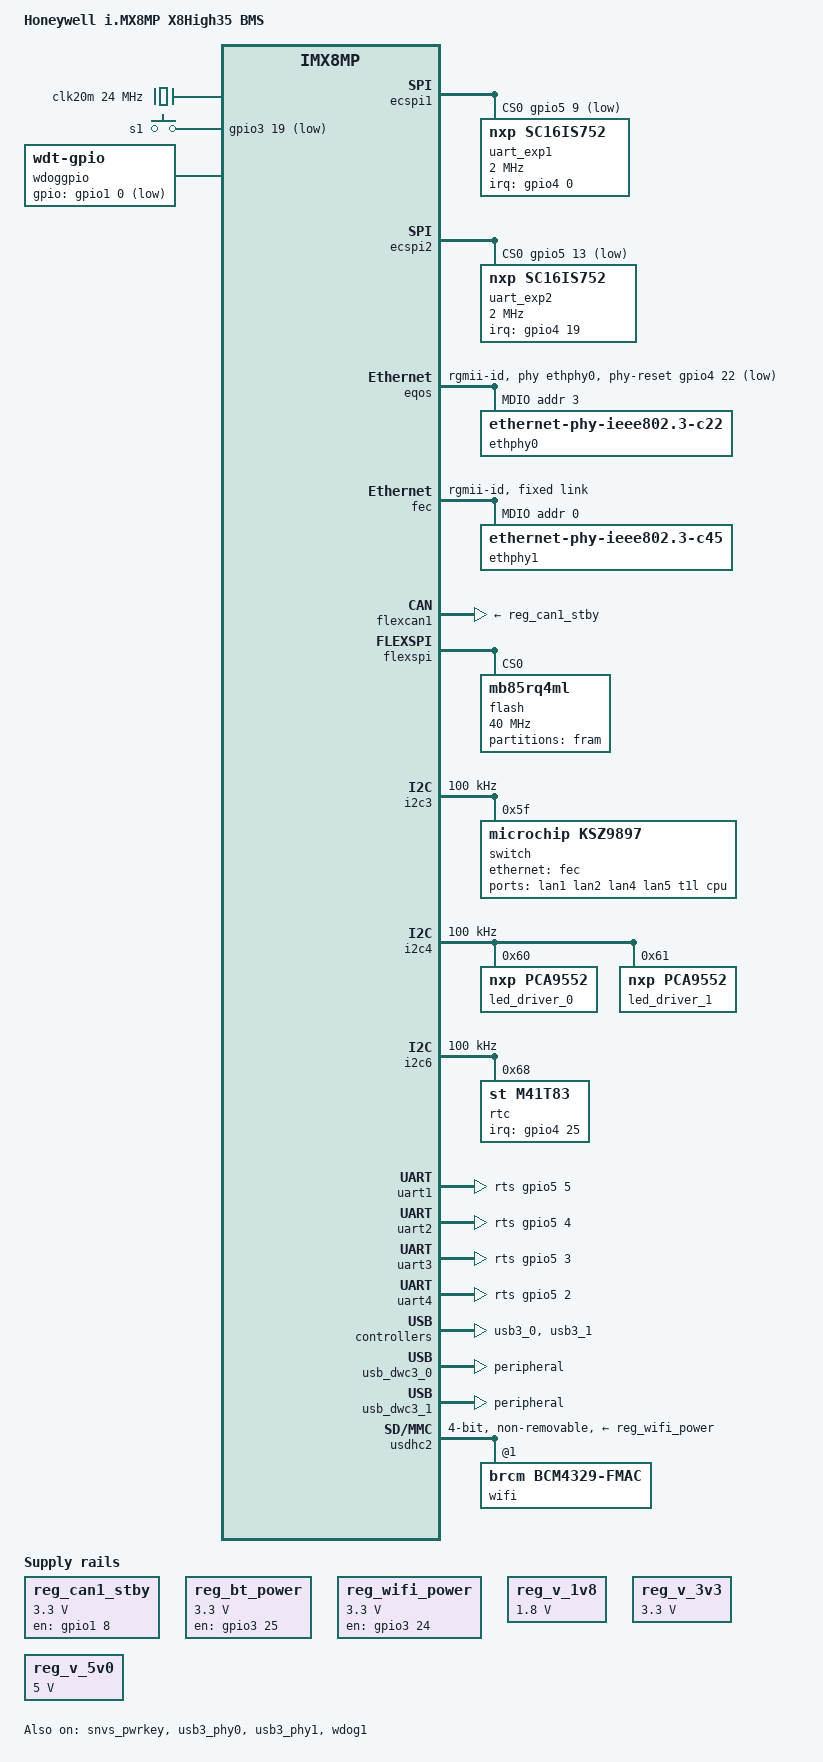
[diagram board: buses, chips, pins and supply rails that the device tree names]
// SPDX-License-Identifier: (GPL-2.0 OR MIT)
/*
 * Copyright (C) 2021 Shrirang Bagul <shrirang.bagul@canonical.com>
 */

/dts-v1/;

#include "dt-bindings/leds/leds-pca955x.h"
#include "dt-bindings/usb/pd.h"
#include "imx8mp-x8high35-som.dtsi"

/ {
	model = "Honeywell i.MX8MP X8High35 BMS";
	compatible = "Honeywell,x8high35-bms", "fsl,imx8mp";

	aliases {
		rtc0 = &rtc;
		rtc1 = &snvs_rtc;
		watchdog0 = &rtc;
		watchdog1 = &wdog1;
	};

	reserved-memory {
		#address-cells = <2>;
		#size-cells = <2>;
		ranges;

		linux,cma {
			compatible = "shared-dma-pool";
			reusable;
			size = <0x0 0x8000000>;
			alloc-ranges = <0x0 0x40000000 0x0 0xc0000000>;
			linux,cma-default;
		};

		rpmsg_reserved: rpmsg@55800000 {
			no-map;
			reg = <0x0 0x55800000 0x0 0x800000>;
		};
	};

	leds {
		compatible = "gpio-leds";
		/delete-property/pinctrl-0;
		/delete-property/pinctrl-names;
		status = "disabled";
	};

	clk20m: oscillator-0 {
		compatible = "fixed-clock";
		#clock-cells = <0>;
		clock-frequency  = <24000000>;
		clock-output-names = "clk20m";
	};

	firmware {
		optee {
			compatible = "linaro,optee-tz";
			method = "smc";
		};
	};

	gpio-keys {
		compatible = "gpio-keys";
		pinctrl-names = "default";
		pinctrl-0 = <&pinctrl_gpiokeys>;

		s1 {
			label = "s1";
			gpios = <&gpio3 19 GPIO_ACTIVE_LOW>;
			linux,code = <KEY_ESC>;
			wakeup-source;
		};
	};

	reg_can1_stby: regulator-can1-stby {
		compatible = "regulator-fixed";
		regulator-name = "can1-stby";
		pinctrl-names = "default";
		pinctrl-0 = <&pinctrl_flexcan1_reg>;
		regulator-min-microvolt = <3300000>;
		regulator-max-microvolt = <3300000>;
		gpio = <&gpio1 8 GPIO_ACTIVE_HIGH>;
		regulator-always-on;
		enable-active-high;
	};

	reg_bt_power: regulator-bt-power {
		compatible = "regulator-fixed";
		regulator-name = "bt_power";
		pinctrl-names = "default";
		pinctrl-0 = <&pinctrl_bt_reg>;
		regulator-min-microvolt = <3300000>;
		regulator-max-microvolt = <3300000>;
		gpio = <&gpio3 25 GPIO_ACTIVE_HIGH>;
		enable-active-high;
		regulator-always-on;
	};


	reg_wifi_power: regulator-wifi-power {
		compatible = "regulator-fixed";
		regulator-name = "wifi_power";
		pinctrl-names = "default";
		pinctrl-0 = <&pinctrl_wifi_reg>;
		regulator-min-microvolt = <3300000>;
		regulator-max-microvolt = <3300000>;
		gpio = <&gpio3 24 GPIO_ACTIVE_HIGH>;
		enable-active-high;
		regulator-always-on;
		startup-delay-us = <10000>;
		off-on-delay-us = <12000>;
	};

	reg_v_1v8: regulator-v-1v8 {
		pinctrl-names = "default";
		pinctrl-0 = <&pinctrl_ldo5>;
		compatible = "regulator-gpio";
		regulator-name = "v_1v8";
		regulator-max-microvolt = <1800000>;
		regulator-min-microvolt = <1800000>;
		gpios = <&gpio1 4 GPIO_ACTIVE_HIGH>;
		states = <1800000 0x1>;
		regulator-always-on;
		regulator-boot-on;
	};

	reg_v_3v3: regulator-v-3v3 {
		compatible = "regulator-fixed";
		regulator-name = "v_3v3";
		regulator-max-microvolt = <3300000>;
		regulator-min-microvolt = <3300000>;
		regulator-always-on;
	};

	reg_v_5v0: regulator-v-5v0 {
		compatible = "regulator-fixed";
		regulator-name = "v_5v0";
		regulator-max-microvolt = <5000000>;
		regulator-min-microvolt = <5000000>;
		regulator-always-on;
	};

	wdoggpio: watchdog {
		compatible = "linux,wdt-gpio";
		pinctrl-names = "default";
		pinctrl-0 = <&pinctrl_wdoggpio>;
		gpios = <&gpio1 0 GPIO_ACTIVE_LOW>;
		hw_algo = "toggle";
		hw_margin_ms = <60000>;
		always-running;
	};
};

&ecspi1 {
	pinctrl-names = "default";
	pinctrl-0 = <&pinctrl_ecspi1 &pinctrl_uart_exp1_int>;
	cs-gpios = <&gpio5 9 GPIO_ACTIVE_LOW>;
	num-cs = <1>;
	status = "okay";

	#address-cells = <1>;
	#size-cells = <0>;

	/* UART Port A <--> RS-485 UART */
	/* UART Port B <--> FFT UART */
	uart_exp1@0 {
		compatible = "nxp,sc16is752";
		reg = <0>;
		interrupt-parent = <&gpio4>;
		interrupts = <0 IRQ_TYPE_EDGE_FALLING>;
		clock-frequency = <24000000>;
		spi-max-frequency = <2000000>;

        gpio-controller;
		#gpio-cells = <2>;
		gpio-line-names =
			"MMI_PWR_EN", "MMI_PWR_OK",	"RS422_MODE", "GPIO3",
			"GPIO4", "GPIO5", "GPIO6", "GPIO7";
    };
};

&ecspi2 {
	pinctrl-names = "default";
	pinctrl-0 = <&pinctrl_ecspi2 &pinctrl_uart_exp2_int>;
	cs-gpios =	<&gpio5 13 GPIO_ACTIVE_LOW>;
	num-cs = <1>;
	status = "okay";

	#address-cells = <1>;
	#size-cells = <0>;

	/* UART Port A <--> Wifi BT UART */
	/* UART Port B <--> BLE5 ZigBee UART */
	uart_exp2@0 {
		compatible = "nxp,sc16is752";
		reg = <0>;
		interrupt-parent = <&gpio4>;
		interrupts = <19 IRQ_TYPE_EDGE_FALLING>;
		clock-frequency = <24000000>;
		spi-max-frequency = <2000000>;

		gpio-controller;
		#gpio-cells = <2>;
		gpio-line-names =
			"BLE5_ZIGBEE_RESET_B", "BLE5_ZIGBEE_INT_B",
			"GPIO2", "GPIO3", "GPIO4",
			"GPIO5", "GPIO6", "GPIO7";
    };
};

&eqos {
	pinctrl-names = "default";
	pinctrl-0 = <&pinctrl_eqos>;
	phy-mode = "rgmii-id";
	phy-reset-gpios = <&gpio4 22 GPIO_ACTIVE_LOW>;
	phy-handle = <&ethphy0>;
	nvmem-cells = <&eth_mac2>;
	nvmem-cell-names = "mac-address";
	nvmem_macaddr_swap;
	status = "okay";

	mdio {
		compatible = "snps,dwmac-mdio";
		#address-cells = <1>;
		#size-cells = <0>;

		ethphy0: ethernet-phy@3 {
			compatible = "ethernet-phy-ieee802.3-c22";
			reg = <3>;
			eee-broken-1000t;
			eee-broken-100tx;
			eee-broken-10gt;
		};
	};
};

&fec {
	pinctrl-names = "default";
	pinctrl-0 = <&pinctrl_fec>;
	phy-mode = "rgmii-id";
	fsl,magic-packet;
	status = "okay";

	fixed-link {
		speed = <1000>;
		full-duplex;
	};

	mdio {
		#address-cells = <1>;
		#size-cells = <0>;

		ethphy1: ethernet-phy@0 {
			compatible = "ethernet-phy-ieee802.3-c45";
			reg = <0>;
			phy-mode = "mii";
			max-speed = <10>;
		};
	};

};

&flexcan1 {
	pinctrl-names = "default";
	pinctrl-0 = <&pinctrl_flexcan1>;
	xceiver-supply = <&reg_can1_stby>;
	status = "okay";
};

&flexspi {
	pinctrl-names = "default";
	pinctrl-0 = <&pinctrl_flexspi>;
	status = "okay";

	flash@0 {
		reg = <0>;
		#address-cells = <1>;
		#size-cells = <1>;
		compatible ="mb85rq4ml", "jedec,spi-nor";
		spi-max-frequency = <40000000>;
		spi-tx-bus-width = <4>;
		spi-rx-bus-width = <4>;

		/* a 512K partition */
		partition@0 {
			label = "fram";
			reg = <0x0 0x80000>;
		};
	};
};

&i2c3 {
	pinctrl-names = "default";
	pinctrl-0 = <&pinctrl_i2c3>;
	clock-frequency = <100000>;
	status = "okay";

	switch: switch@5f {
		compatible = "microchip,ksz9897";
		reg = <0x5f>;
		phy-mode = "rgmii-id";

		ports {
			#address-cells = <1>;
			#size-cells = <0>;

			port@0 {
				reg = <0>;
				label = "lan1";
			};

			port@1 {
				reg = <1>;
				label = "lan2";
			};

			port@3 {
				reg = <3>;
				label = "lan4";
			};

			port@4 {
				reg = <4>;
				label = "lan5";
			};

			port@5 {
				reg = <5>;
				label = "t1l";
			};

			port@6 {
				reg = <6>;
				label = "cpu";
				ethernet = <&fec>;
				phy-mode = "rgmii-id";
				fixed-link {
					speed = <1000>;
					full-duplex;
				};
			};
		};
	};
};

&i2c4 {
	pinctrl-names = "default";
	pinctrl-0 = <&pinctrl_i2c4>;
	clock-frequency = <100000>;
	status = "okay";

	led_driver_0: pca9552@60 {
		compatible = "nxp,pca9552";
		#address-cells = <1>;
		#size-cells = <0>;
		reg = <0x60>;

		led@0 {
			label = "green:tx1";
			reg = <0>;
			type = <PCA955X_TYPE_LED>;
		};

		led@1 {
			label = "red:tx1";
			reg = <1>;
			type = <PCA955X_TYPE_LED>;
		};

		led@2 {
			label = "green:rx1";
			reg = <2>;
			type = <PCA955X_TYPE_LED>;
		};

		led@3 {
			label = "red:rx1";
			reg = <3>;
			type = <PCA955X_TYPE_LED>;
		};

		led@4 {
			label = "green:tx2";
			reg = <4>;
			type = <PCA955X_TYPE_LED>;
		};

		led@5 {
			label = "red:tx2";
			reg = <5>;
			type = <PCA955X_TYPE_LED>;
		};

		led@6 {
			label = "green:rx2";
			reg = <6>;
			type = <PCA955X_TYPE_LED>;
		};

		led@7 {
			label = "red:rx2";
			reg = <7>;
			type = <PCA955X_TYPE_LED>;
		};

		led@8 {
			label = "green:tx3";
			reg = <8>;
			type = <PCA955X_TYPE_LED>;
		};

		led@9 {
			label = "red:tx3";
			reg = <9>;
			type = <PCA955X_TYPE_LED>;
		};

		led@10 {
			label = "green:rx3";
			reg = <10>;
			type = <PCA955X_TYPE_LED>;
		};

		led@11 {
			label = "red:rx3";
			reg = <11>;
			type = <PCA955X_TYPE_LED>;
		};

		led@12 {
			label = "green:tx4";
			reg = <12>;
			type = <PCA955X_TYPE_LED>;
		};

		led@13 {
			label = "red:tx4";
			reg = <13>;
			type = <PCA955X_TYPE_LED>;
		};

		led@14 {
			label = "green:rx4";
			reg = <14>;
			type = <PCA955X_TYPE_LED>;
		};

		led@15 {
			label = "red:rx4";
			reg = <15>;
			type = <PCA955X_TYPE_LED>;
		};
	};

	led_driver_1: pca9552@61 {
		compatible = "nxp,pca9552";
		#address-cells = <1>;
		#size-cells = <0>;
		reg = <0x61>;

		led@0 {
			label = "green:tx5";
			reg = <0>;
			type = <PCA955X_TYPE_LED>;
		};

		led@1 {
			label = "red:tx5";
			reg = <1>;
			type = <PCA955X_TYPE_LED>;
		};

		led@2 {
			label = "green:rx5";
			reg = <2>;
			type = <PCA955X_TYPE_LED>;
		};

		led@3 {
			label = "red:rx5";
			reg = <3>;
			type = <PCA955X_TYPE_LED>;
		};

		led@4 {
			label = "green:status";
			reg = <4>;
			type = <PCA955X_TYPE_LED>;
		};

		led@5 {
			label = "red:status";
			reg = <5>;
			type = <PCA955X_TYPE_LED>;
		};

		led@6 {
			label = "green:wifi";
			reg = <6>;
			type = <PCA955X_TYPE_LED>;
		};

		led@7 {
			label = "red:wifi";
			reg = <7>;
			type = <PCA955X_TYPE_LED>;
		};

		led@8 {
			label = "green:bluetooth";
			reg = <8>;
			type = <PCA955X_TYPE_LED>;
		};

		led@9 {
			label = "red:bluetooth";
			reg = <9>;
			type = <PCA955X_TYPE_LED>;
		};

		led@10 {
			label = "green:alarm_b";
			reg = <10>;
			type = <PCA955X_TYPE_LED>;
		};

		led@11 {
			label = "red:alarm_b";
			reg = <11>;
			type = <PCA955X_TYPE_LED>;
		};
	};
};

&i2c6 {
	pinctrl-names = "default";
	pinctrl-0 = <&pinctrl_i2c6>;
	clock-frequency = <100000>;
	status = "okay";

	rtc: rtc@68 {
		compatible = "st,m41t83";
		reg = <0x68>;
		interrupt-parent = <&gpio4>;
		interrupts = <25 IRQ_TYPE_LEVEL_LOW>;
		interrupt-names = "rtc-wake";
	};
};

&iomuxc {
	pinctrl-names = "default";
	pinctrl-0 = <&pinctrl_hog>;

	pinctrl_beeper_pwm: beeperpwmgrp {
		fsl,pins = <
			MX8MP_IOMUXC_GPIO1_IO10__PWM3_OUT	0x6
		>;
	};

	pinctrl_bt_reg: btreggrp {
		fsl,pins = <
			MX8MP_IOMUXC_SAI5_MCLK__GPIO3_IO25	0x19
		>;
	};

	pinctrl_hog: hoggrp {
		fsl,pins = <
			/* LED_SHUTDOWN_B */
			MX8MP_IOMUXC_SD1_DATA6__GPIO2_IO08	0x19
			/* LED_ALARM_B */
			MX8MP_IOMUXC_SD1_DATA7__GPIO2_IO09	0x19
		>;
	};

	pinctrl_eqos: eqosgrp {
		fsl,pins = <
			MX8MP_IOMUXC_ENET_MDC__ENET_QOS_MDC	0x3
			MX8MP_IOMUXC_ENET_MDIO__ENET_QOS_MDIO	0x3
			MX8MP_IOMUXC_ENET_RD0__ENET_QOS_RGMII_RD0	0x91
			MX8MP_IOMUXC_ENET_RD1__ENET_QOS_RGMII_RD1	0x91
			MX8MP_IOMUXC_ENET_RD2__ENET_QOS_RGMII_RD2	0x91
			MX8MP_IOMUXC_ENET_RD3__ENET_QOS_RGMII_RD3	0x91
			MX8MP_IOMUXC_ENET_RXC__CCM_ENET_QOS_CLOCK_GENERATE_RX_CLK	0x91
			MX8MP_IOMUXC_ENET_RX_CTL__ENET_QOS_RGMII_RX_CTL	0x91
			MX8MP_IOMUXC_ENET_TD0__ENET_QOS_RGMII_TD0		0x1f
			MX8MP_IOMUXC_ENET_TD1__ENET_QOS_RGMII_TD1		0x1f
			MX8MP_IOMUXC_ENET_TD2__ENET_QOS_RGMII_TD2		0x1f
			MX8MP_IOMUXC_ENET_TD3__ENET_QOS_RGMII_TD3		0x1f
			MX8MP_IOMUXC_ENET_TX_CTL__ENET_QOS_RGMII_TX_CTL	0x1f
			MX8MP_IOMUXC_ENET_TXC__CCM_ENET_QOS_CLOCK_GENERATE_TX_CLK	0x1f
			MX8MP_IOMUXC_SAI2_RXC__GPIO4_IO22		0x19
		>;
	};

	pinctrl_ecspi1: ecspi1grp {
		fsl,pins = <
			MX8MP_IOMUXC_ECSPI1_SCLK__ECSPI1_SCLK	0x82
			MX8MP_IOMUXC_ECSPI1_MISO__ECSPI1_MISO	0x82
			MX8MP_IOMUXC_ECSPI1_MOSI__ECSPI1_MOSI	0x82
			MX8MP_IOMUXC_ECSPI1_SS0__GPIO5_IO09	0x82
		>;
	};

	pinctrl_ecspi2: ecspi2grp {
		fsl,pins = <
			MX8MP_IOMUXC_ECSPI2_SCLK__ECSPI2_SCLK	0x82
			MX8MP_IOMUXC_ECSPI2_MISO__ECSPI2_MISO	0x82
			MX8MP_IOMUXC_ECSPI2_MOSI__ECSPI2_MOSI	0x82
			MX8MP_IOMUXC_ECSPI2_SS0__GPIO5_IO13	0x82
		>;
	};

	pinctrl_uart_exp1_int: uartexp1grp {
		fsl,pins = <
			MX8MP_IOMUXC_SAI1_RXFS__GPIO4_IO00	0x19
		>;
	};

	pinctrl_uart_exp2_int: uartexp2grp {
		fsl,pins = <
			MX8MP_IOMUXC_SAI1_TXD7__GPIO4_IO19	0x19
		>;
	};

	pinctrl_fec: fecgrp {
		fsl,pins = <
			MX8MP_IOMUXC_SAI1_RXD2__ENET1_MDC		0x3
			MX8MP_IOMUXC_SAI1_RXD3__ENET1_MDIO		0x3
			MX8MP_IOMUXC_SAI1_RXD4__ENET1_RGMII_RD0		0x91
			MX8MP_IOMUXC_SAI1_RXD5__ENET1_RGMII_RD1		0x91
			MX8MP_IOMUXC_SAI1_RXD6__ENET1_RGMII_RD2		0x91
			MX8MP_IOMUXC_SAI1_RXD7__ENET1_RGMII_RD3		0x91
			MX8MP_IOMUXC_SAI1_TXC__ENET1_RGMII_RXC		0x91
			MX8MP_IOMUXC_SAI1_TXFS__ENET1_RGMII_RX_CTL	0x91
			MX8MP_IOMUXC_SAI1_TXD0__ENET1_RGMII_TD0		0x1f
			MX8MP_IOMUXC_SAI1_TXD1__ENET1_RGMII_TD1		0x1f
			MX8MP_IOMUXC_SAI1_TXD2__ENET1_RGMII_TD2		0x1f
			MX8MP_IOMUXC_SAI1_TXD3__ENET1_RGMII_TD3		0x1f
			MX8MP_IOMUXC_SAI1_TXD4__ENET1_RGMII_TX_CTL	0x1f
			MX8MP_IOMUXC_SAI1_TXD5__ENET1_RGMII_TXC		0x1f
			MX8MP_IOMUXC_SAI1_RXD0__GPIO4_IO02		0x19
		>;
	};

	pinctrl_flexcan1: flexcan1grp {
		fsl,pins = <
			MX8MP_IOMUXC_SAI5_RXD1__CAN1_TX		0x154
			MX8MP_IOMUXC_SAI5_RXD2__CAN1_RX		0x154
		>;
	};

	pinctrl_flexcan2: flexcan2grp {
		fsl,pins = <
			MX8MP_IOMUXC_SAI5_MCLK__CAN2_RX         0x154
			MX8MP_IOMUXC_SAI5_RXD3__CAN2_TX         0x154
		>;
	};

	pinctrl_flexcan1_reg: flexcan1reggrp {
		fsl,pins = <
			MX8MP_IOMUXC_GPIO1_IO08__GPIO1_IO08		0x154   /* CAN1_STBY */
		>;
	};

	pinctrl_flexcan2_reg: flexcan2reggrp {
		fsl,pins = <
			MX8MP_IOMUXC_SAI2_MCLK__GPIO4_IO27      0x154   /* CAN2_STBY */
		>;
	};

	pinctrl_flexspi: flexspigrp {
		fsl,pins = <
			MX8MP_IOMUXC_NAND_ALE__FLEXSPI_A_SCLK		0x1c2
			MX8MP_IOMUXC_NAND_CE0_B__FLEXSPI_A_SS0_B	0x82
			MX8MP_IOMUXC_NAND_DATA00__FLEXSPI_A_DATA00	0x82
			MX8MP_IOMUXC_NAND_DATA01__FLEXSPI_A_DATA01	0x82
			MX8MP_IOMUXC_NAND_DATA02__FLEXSPI_A_DATA02	0x82
			MX8MP_IOMUXC_NAND_DATA03__FLEXSPI_A_DATA03	0x82
		>;
	};

	pinctrl_gpiokeys: gpiokeysgrp {
		fsl,pins = <
			MX8MP_IOMUXC_SAI5_RXFS__GPIO3_IO19	0x19
		>;
	};

	pinctrl_i2c3: i2c3grp {
		fsl,pins = <
			MX8MP_IOMUXC_I2C3_SCL__I2C3_SCL		0x400001c3
			MX8MP_IOMUXC_I2C3_SDA__I2C3_SDA		0x400001c3
		>;
	};

	pinctrl_i2c4: i2c4grp {
		fsl,pins = <
			MX8MP_IOMUXC_SD1_DATA2__I2C4_SCL	0x400001c3
			MX8MP_IOMUXC_SD1_DATA3__I2C4_SDA 	0x400001c3
		>;
	};

	pinctrl_i2c6: i2c6grp {
		fsl,pins = <
			MX8MP_IOMUXC_SD1_DATA0__I2C6_SCL		0x400001c3
			MX8MP_IOMUXC_SD1_DATA1__I2C6_SDA		0x400001c3
		>;
	};

	pinctrl_ldo5: ldo5grp {
		fsl,pins = <
			MX8MP_IOMUXC_GPIO1_IO04__GPIO1_IO04	0x19
		>;
	};

	pinctrl_uart1: uart1grp {
		fsl,pins = <
			MX8MP_IOMUXC_SD1_CLK__UART1_DTE_RX 0x49
			MX8MP_IOMUXC_SD1_CMD__UART1_DTE_TX 0x49
			MX8MP_IOMUXC_SPDIF_EXT_CLK__GPIO5_IO05	0x19
		>;
	};

	pinctrl_uart2: uart2grp {
		fsl,pins = <
			MX8MP_IOMUXC_SAI3_TXC__UART2_DTE_RX		0x49
			MX8MP_IOMUXC_SAI3_TXFS__UART2_DTE_TX	0x49
			MX8MP_IOMUXC_SPDIF_RX__GPIO5_IO04		0x19
		>;
	};

	pinctrl_uart3: uart3grp {
		fsl,pins = <
			MX8MP_IOMUXC_UART3_TXD__UART3_DCE_TX	0x49
			MX8MP_IOMUXC_UART3_RXD__UART3_DCE_RX	0x49
			MX8MP_IOMUXC_SPDIF_TX__GPIO5_IO03		0x19
		>;
	};

	pinctrl_uart4: uart4grp {
		fsl,pins = <
			MX8MP_IOMUXC_UART4_RXD__UART4_DCE_RX	0x49
			MX8MP_IOMUXC_UART4_TXD__UART4_DCE_TX	0x49
			MX8MP_IOMUXC_SAI3_MCLK__GPIO5_IO02		0x19
		>;
	};

	pinctrl_uart_exp2_int: uartexp2grp {
		fsl,pins = <
			MX8MP_IOMUXC_SAI1_TXD7__GPIO4_IO19	0x19
		>;
	};

	pinctrl_usb1_vbus: usb1grp {
		fsl,pins = <
			MX8MP_IOMUXC_SD1_RESET_B__GPIO2_IO10	0x19
		>;
	};

	pinctrl_usb2_vbus: usb2grp {
		fsl,pins = <
			MX8MP_IOMUXC_GPIO1_IO14__GPIO1_IO14	0x19
		>;
	};

	pinctrl_usdhc2: usdhc2grp {
		fsl,pins = <
			MX8MP_IOMUXC_SD2_CLK__USDHC2_CLK	0x190
			MX8MP_IOMUXC_SD2_CMD__USDHC2_CMD	0x1d0
			MX8MP_IOMUXC_SD2_DATA0__USDHC2_DATA0	0x1d0
			MX8MP_IOMUXC_SD2_DATA1__USDHC2_DATA1	0x1d0
			MX8MP_IOMUXC_SD2_DATA2__USDHC2_DATA2	0x1d0
			MX8MP_IOMUXC_SD2_DATA3__USDHC2_DATA3	0x1d0
		>;
	};

	pinctrl_usdhc2_100mhz: usdhc2-100mhzgrp {
		fsl,pins = <
			MX8MP_IOMUXC_SD2_CLK__USDHC2_CLK	0x194
			MX8MP_IOMUXC_SD2_CMD__USDHC2_CMD	0x1d4
			MX8MP_IOMUXC_SD2_DATA0__USDHC2_DATA0	0x1d4
			MX8MP_IOMUXC_SD2_DATA1__USDHC2_DATA1	0x1d4
			MX8MP_IOMUXC_SD2_DATA2__USDHC2_DATA2	0x1d4
			MX8MP_IOMUXC_SD2_DATA3__USDHC2_DATA3	0x1d4
		>;
	};

	pinctrl_usdhc2_200mhz: usdhc2-200mhzgrp {
		fsl,pins = <
			MX8MP_IOMUXC_SD2_CLK__USDHC2_CLK	0x196
			MX8MP_IOMUXC_SD2_CMD__USDHC2_CMD	0x1d6
			MX8MP_IOMUXC_SD2_DATA0__USDHC2_DATA0	0x1d6
			MX8MP_IOMUXC_SD2_DATA1__USDHC2_DATA1	0x1d6
			MX8MP_IOMUXC_SD2_DATA2__USDHC2_DATA2	0x1d6
			MX8MP_IOMUXC_SD2_DATA3__USDHC2_DATA3	0x1d6
		>;
	};

	pinctrl_wdog: wdoggrp {
		fsl,pins = <
			MX8MP_IOMUXC_GPIO1_IO02__WDOG1_WDOG_B	0x166
		>;
	};

	pinctrl_wdoggpio:wdoggpiogrp{
		fsl,pins = <
			MX8MP_IOMUXC_GPIO1_IO00__GPIO1_IO00	0x19
		>;
	};

	pinctrl_wifi_reg: wifireggrp {
		fsl,pins = <
			MX8MP_IOMUXC_SAI5_RXD3__GPIO3_IO24	0x19
		>;
	};

};

&ocotp {
	eth_mac2: mac-address@94 {
		reg = <0x94 6>;
	};
};

&snvs_pwrkey {
	status = "okay";
};

&uart1 {
	/* RS-485 TouchFlakes */
	pinctrl-names = "default";
	pinctrl-0 = <&pinctrl_uart1>;
	fsl,dte-mode;
	linux,rs485-enabled-at-boot-time;
	rts-gpios = <&gpio5 5 GPIO_ACTIVE_HIGH>;
	status = "okay";
};

&uart2 {
	/* RS-485 MSTP Port1 */
	/* AND */
	/* ARM53 debug console */
	pinctrl-names = "default";
	pinctrl-0 = <&pinctrl_uart2>;
	linux,rs485-enabled-at-boot-time;
	status = "okay";

	fsl,dte-mode;
	rts-gpios = <&gpio5 4 GPIO_ACTIVE_HIGH>;
};

&uart3 {
	/* RS-485 MSTP Port2 */
	pinctrl-names = "default";
	pinctrl-0 = <&pinctrl_uart3>;
	linux,rs485-enabled-at-boot-time;
	status = "okay";

	rts-gpios = <&gpio5 3 GPIO_ACTIVE_HIGH>;
};

&uart4 {
	/* RS-485 MSTP Port3 */
	/* AND */
	/* ARM M7 debug console */
	pinctrl-names = "default";
	pinctrl-0 = <&pinctrl_uart4>;
	linux,rs485-enabled-at-boot-time;
	status = "okay";

	rts-gpios = <&gpio5 2 GPIO_ACTIVE_HIGH>;
};

&usb3_phy0 {
	status = "okay";
};

&usb3_0 {
	status = "okay";
};

&usb_dwc3_0 {
	dr_mode = "peripheral";
	hnp-disable;
	srp-disable;
	adp-disable;
	status = "okay";
};

&usb3_phy1 {
	status = "okay";
};

&usb3_1 {
	status = "okay";
};

&usb_dwc3_1 {
	dr_mode = "peripheral";
	hnp-disable;
	srp-disable;
	adp-disable;
	status = "okay";
};

&usdhc2 {
	assigned-clocks = <&clk IMX8MP_CLK_USDHC2>;
	assigned-clock-rates = <400000000>;
	pinctrl-names = "default", "state_100mhz", "state_200mhz";
	pinctrl-0 = <&pinctrl_usdhc2>;
	pinctrl-1 = <&pinctrl_usdhc2_100mhz>;
	pinctrl-2 = <&pinctrl_usdhc2_200mhz>;
	vmmc-supply = <&reg_wifi_power>;
	bus-width = <4>;
	max-frequency = <50000000>;
	non-removable;
	keep-power-in-suspend;
	enable-sdio-wakeup;
	status = "okay";

	wifi@1 {
		compatible = "brcm,bcm4329-fmac";
		reg = <1>;
	};
};

&wdog1 {
	pinctrl-names = "default";
	pinctrl-0 = <&pinctrl_wdog>;
	fsl,ext-reset-output;
	status = "okay";
};
